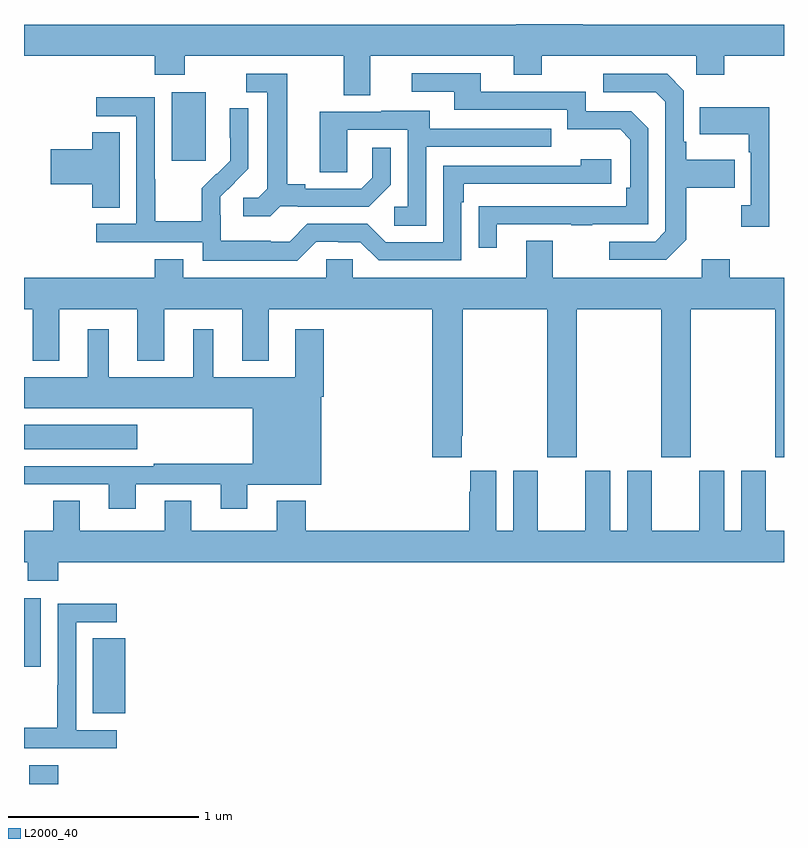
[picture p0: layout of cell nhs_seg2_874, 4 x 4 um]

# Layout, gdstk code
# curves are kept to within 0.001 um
import gdstk
lib = gdstk.Library(unit=1e-6, precision=1e-09)
def R(c, l, rs):  # rectangles x0, y0, x1, y1
    for r in rs: c.add(gdstk.rectangle(r[:2], r[2:], *l))
def P(c, l, *ps):  # polygons
    for p in ps: c.add(gdstk.Polygon(p, *l))
L2000_40 = (2000, 40)

nhs_seg2_874 = lib.new_cell('nhs_seg2_874')
R(nhs_seg2_874, L2000_40, [(155.027,647.8,155.18,647.899), (155.363,648.173,155.534,648.566), (155,648.417,155.089,648.778), (155,649.562,155.596,649.69), (155.777,651.081,155.956,651.442)])
P(nhs_seg2_874, L2000_40, [(156.823,651.632),(157.577,651.632),(157.577,651.533),(157.725,651.533),(157.725,651.632),(158.538,651.632),(158.538,651.533),(158.685,651.533),(158.685,651.632),(159,651.632),(159,651.796),(157.942,651.796),(157.942,651.8),(157.592,651.8),(157.592,651.796),(155,651.796),(155,651.632),(155.687,651.632),(155.687,651.533),(155.847,651.533),(155.847,651.632),(156.683,651.632),(156.683,651.424),(156.823,651.424)],
  [(157.489,650.745),(157.879,650.745),(157.879,650.74),(157.991,650.74),(157.991,650.745),(158.286,650.745),(158.286,651.252),(158.196,651.342),(157.956,651.342),(157.956,651.444),(157.405,651.444),(157.405,651.54),(157.041,651.54),(157.041,651.444),(157.265,651.444),(157.265,651.348),(157.86,651.348),(157.86,651.245),(158.137,651.245),(158.19,651.192),(158.19,650.938),(158.17,650.938),(158.17,650.841),(157.393,650.84),(157.393,650.622),(157.489,650.622)],
  [(156.348,650.841),(156.442,650.841),(156.442,650.838),(156.814,650.838),(156.93,650.954),(156.93,651.148),(156.833,651.148),(156.833,650.991),(156.776,650.934),(156.481,650.934),(156.481,650.957),(156.385,650.957),(156.385,651.537),(156.171,651.537),(156.171,651.441),(156.281,651.441),(156.281,650.933),(156.234,650.886),(156.153,650.886),(156.153,650.789),(156.296,650.789)],
  [(158.485,650.665),(158.485,650.938),(158.741,650.938),(158.741,651.085),(158.485,651.085),(158.485,651.181),(158.472,651.181),(158.472,651.45),(158.385,651.537),(158.049,651.537),(158.049,651.441),(158.325,651.441),(158.376,651.39),(158.376,650.709),(158.322,650.655),(158.079,650.655),(158.079,650.559),(158.379,650.559)],
  [(156.537,650.655),(156.653,650.655),(156.653,650.652),(156.771,650.652),(156.867,650.556),(157.302,650.556),(157.302,650.861),(157.315,650.861),(157.315,650.958),(158.092,650.958),(158.092,651.088),(157.931,651.088),(157.931,651.054),(157.206,651.054),(157.206,650.652),(156.903,650.652),(156.807,650.748),(156.492,650.748),(156.399,650.655),(156.299,650.655),(156.299,650.659),(156.036,650.659),(156.036,650.793),(156.034,650.793),(156.034,650.89),(156.18,651.038),(156.18,651.356),(156.084,651.356),(156.084,651.202),(156.086,651.202),(156.086,651.08),(156.015,651.009),(156.012,651.012),(155.935,650.935),(155.935,650.761),(155.691,650.761),(155.691,650.984),(155.688,650.984),(155.688,651.414),(155.379,651.414),(155.379,651.315),(155.592,651.315),(155.592,650.748),(155.379,650.748),(155.379,650.652),(155.94,650.652),(155.94,650.555),(156.437,650.555)],
  [(158.922,651.361),(158.557,651.361),(158.557,651.221),(158.814,651.221),(158.814,651.125),(158.826,651.125),(158.826,650.846),(158.775,650.846),(158.775,650.733),(158.922,650.733)],
  [(157.116,651.153),(157.775,651.153),(157.775,651.249),(157.135,651.249),(157.135,651.343),(156.881,651.343),(156.881,651.339),(156.557,651.339),(156.557,651.019),(156.702,651.019),(156.702,651.243),(157.02,651.243),(157.02,650.838),(156.948,650.838),(156.948,650.737),(157.116,650.737)],
  [(155.503,651.23),(155.36,651.23),(155.36,651.14),(155.142,651.14),(155.142,650.957),(155.36,650.957),(155.36,650.833),(155.503,650.833)],
  [(157.303,649.633),(157.308,649.633),(157.308,650.3),(157.753,650.3),(157.753,649.521),(157.908,649.521),(157.908,650.3),(158.353,650.3),(158.353,649.521),(158.508,649.521),(158.508,650.3),(158.953,650.3),(158.953,649.521),(159,649.521),(159,650.464),(158.715,650.464),(158.715,650.563),(158.567,650.563),(158.567,650.464),(157.783,650.464),(157.783,650.659),(157.643,650.659),(157.643,650.464),(156.729,650.464),(156.729,650.562),(156.591,650.562),(156.591,650.464),(155.839,650.464),(155.839,650.563),(155.687,650.563),(155.687,650.464),(155,650.464),(155,650.3),(155.045,650.3),(155.045,650.027),(155.185,650.027),(155.185,650.3),(155.597,650.3),(155.597,650.027),(155.737,650.027),(155.737,650.3),(156.149,650.3),(156.149,650.027),(156.289,650.027),(156.289,650.3),(157.148,650.3),(157.148,649.521),(157.303,649.521)],
  [(155.587,649.377),(156.035,649.377),(156.035,649.248),(156.175,649.248),(156.175,649.376),(156.565,649.376),(156.565,649.838),(156.578,649.838),(156.578,650.194),(156.428,650.194),(156.428,649.942),(155.995,649.942),(155.995,650.194),(155.891,650.194),(155.891,649.942),(155.446,649.942),(155.446,650.194),(155.336,650.194),(155.336,649.942),(155,649.942),(155,649.778),(156.203,649.778),(156.203,649.486),(155.683,649.486),(155.683,649.473),(155,649.473),(155,649.377),(155.447,649.377),(155.447,649.248),(155.587,649.248)],
  [(155.18,648.968),(159,648.968),(159,649.132),(158.905,649.132),(158.905,649.45),(158.774,649.45),(158.774,649.132),(158.686,649.132),(158.686,649.45),(158.555,649.45),(158.555,649.132),(158.305,649.132),(158.305,649.45),(158.174,649.45),(158.174,649.132),(158.086,649.132),(158.086,649.45),(157.955,649.45),(157.955,649.132),(157.705,649.132),(157.705,649.45),(157.574,649.45),(157.574,649.132),(157.486,649.132),(157.486,649.45),(157.349,649.45),(157.349,649.337),(157.343,649.337),(157.343,649.132),(156.482,649.132),(156.482,649.291),(156.329,649.291),(156.329,649.132),(155.881,649.132),(155.881,649.292),(155.741,649.292),(155.741,649.132),(155.293,649.132),(155.293,649.292),(155.153,649.292),(155.153,649.132),(155,649.132),(155,648.968),(155.02,648.968),(155.02,648.869),(155.18,648.869)],
  [(155.488,648.084),(155.274,648.084),(155.274,648.651),(155.488,648.651),(155.488,648.75),(155.178,648.75),(155.178,648.32),(155.176,648.32),(155.176,648.097),(155,648.097),(155,647.988),(155.488,647.988)])

lib.write_gds('nhs_seg2_874.gds')
